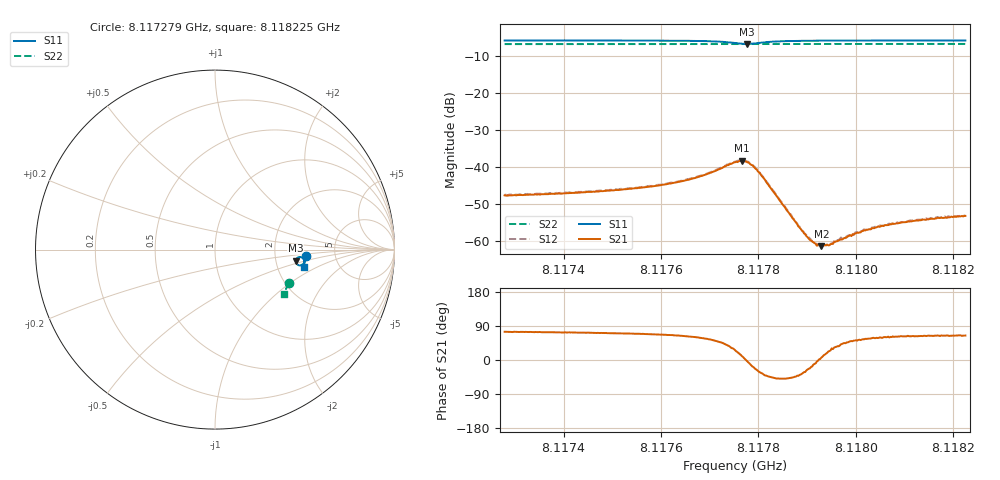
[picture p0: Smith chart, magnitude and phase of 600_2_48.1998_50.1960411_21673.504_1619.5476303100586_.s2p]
#  HZ  S  RI  R  50.00
! Rohde & Schwarz Vector Network Analyzer
! Rohde-Schwarz,ZNB20-2Port,1311601062101988,3.16
! Created: UTC 3/20/2024, 12:02:58 PM
! freq[Hz]  re:S11  im:S11  re:S21  im:S21  re:S12  im:S12  re:S22  im:S22
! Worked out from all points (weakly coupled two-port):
!   401 points, 8.117279 GHz to 8.118225 GHz, reference 50 ohm
!   highest |S21| = -38.34 dB at 8.117766 GHz (marker M1); lowest = -61.4 dB at 8.117929 GHz (marker M2)
!   lowest |S11| = -6.9 dB at 8.117776 GHz (marker M3), VSWR 2.67, Z = 130 - j20.2 ohm
!   |S11| at or under -10 dB: nowhere
!   |S22| runs from -6.9 to -6.8 dB; largest |S21 - S12| = 0.00049
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8.1172789e9  0.5051 -0.0371  0.0011 0.00398  0.00118 0.00406  0.4119 -0.187
8.1174374e9  0.5033 -0.0508  0.0014 0.00432  0.00144 0.00438  0.4075 -0.1971
8.1175178e9  0.5018 -0.0585  0.00166 0.00463  0.00173 0.00477  0.405 -0.2022
8.1175959e9  0.4994 -0.067  0.00217 0.00518  0.00227 0.00528  0.4029 -0.2075
8.1176384e9  0.4968 -0.073  0.00276 0.00569  0.00285 0.00574  0.4015 -0.2101
8.1176834e9  0.4912 -0.0804  0.00398 0.0064  0.00404 0.0065  0.3997 -0.2131
8.117752e9  0.4603 -0.0841  0.0103 0.00507  0.0106 0.00513  0.3962 -0.217
8.1177662e9  0.4515 -0.0728  0.0119 0.00213  0.0122 0.0022  0.3955 -0.2173
8.1177756e9  0.4502 -0.0618  0.0117 -0.000226  0.0119 -0.000354  0.3954 -0.2173
8.1177922e9  0.4599 -0.0459  0.00906 -0.00362  0.0093 -0.00387  0.3955 -0.2177
8.1178064e9  0.4721 -0.0416  0.00623 -0.00437  0.00636 -0.0045  0.3958 -0.2185
8.1178868e9  0.4972 -0.0596  0.00115 -0.000906  0.00114 -0.000941  0.3943 -0.2243
8.1179033e9  0.4981 -0.0628  0.000991 -0.000422  0.00104 -0.000472  0.3936 -0.2256
8.1179104e9  0.4983 -0.0641  0.000949 -0.00029  0.000941 -0.000298  0.3934 -0.2261
8.1179223e9  0.4987 -0.0659  0.000898 -3.06e-05  0.000863 -1.55e-05  0.393 -0.2267
8.1179294e9  0.4988 -0.0672  0.000847 9.64e-05  0.000918 4.84e-05  0.3928 -0.2272
8.1179483e9  0.499 -0.0698  0.00082 0.000391  0.000817 0.000398  0.3921 -0.2285
8.1179672e9  0.499 -0.0723  0.000815 0.000647  0.000842 0.000667  0.3918 -0.2297
8.1180169e9  0.499 -0.0782  0.00081 0.00114  0.000843 0.00117  0.3899 -0.2328
8.1180689e9  0.4984 -0.0835  0.000846 0.00143  0.00083 0.00151  0.3883 -0.236
8.1181706e9  0.497 -0.0927  0.000887 0.00184  0.000918 0.00186  0.3845 -0.2424
8.118225e9  0.4963 -0.0974  0.000935 0.00197  0.00103 0.00197  0.3826 -0.2458
